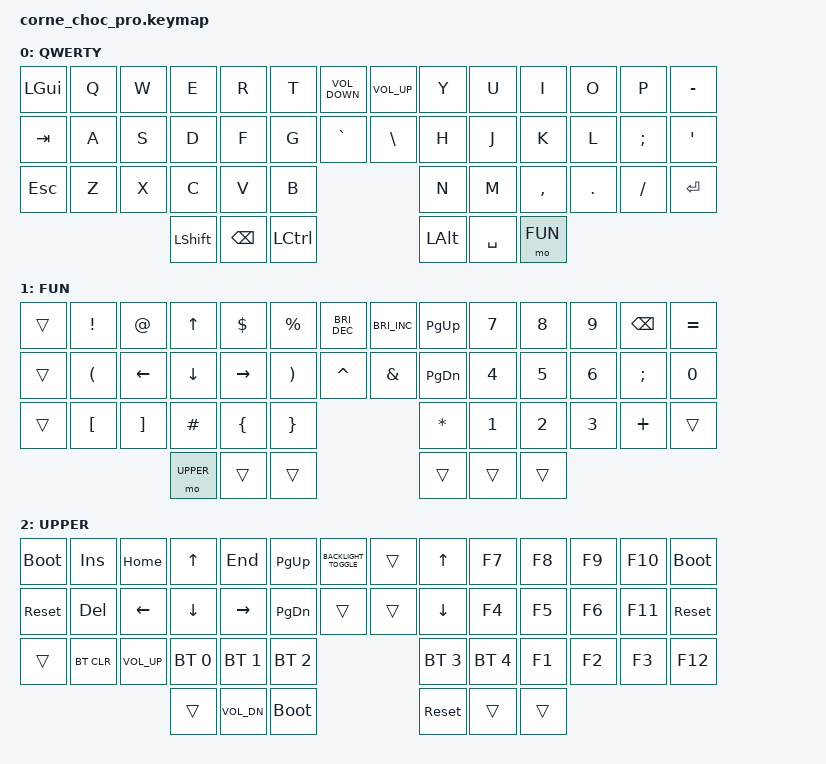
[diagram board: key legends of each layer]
/*
 * Atreus-default port for Keebart Corne Choc Pro (46-key)
 *
 * Layers:
 *   0 QWERTY  - Atreus default base layer
 *   1 FUN     - Atreus default FUN layer (held by right inner thumb)
 *   2 UPPER   - Atreus default UPPER layer (held from within FUN)
 *
 * Physical layout reminder (14 / 14 / 12 / 6):
 *   pos 1..6   = left alphas (outer pinky -> inner index)
 *   pos 7      = left inner-index column (rows 1,2 only)
 *   pos 8      = right inner-index column (rows 1,2 only)
 *   pos 9..14  = right alphas (inner index -> outer pinky)
 *   thumbs     = L_outer L_mid L_inner | R_inner R_mid R_outer
 *
 * Keys that don't fit on an Atreus thumb row get placed on Corne's
 * extra real estate:
 *   - Outer pinky col (pos 1 / pos 14) on rows 1-2: Esc/Tab (L), Quote/Enter (R)
 *   - Inner index col: LGui+Del (L), Minus+Equal (R)
 *   - Row 3 keeps the 6-key Atreus bottom row exactly (` on L-inner, \ on R-inner)
 */

#include <behaviors.dtsi>
#include <dt-bindings/zmk/bt.h>
#include <dt-bindings/zmk/keys.h>

#define BASE  0
#define FUN   1
#define UPPER 2

/ {
    chosen { zmk,physical-layout = &default_layout; };
};

/ {
    keymap {
        compatible = "zmk,keymap";

        default_layer {
            display-name = "QWERTY";

            // ---------------------------------------------------------------------------------------------
            // | ESC  |  Q  |  W  |  E  |  R  |  T  |  DEL  | EQUAL |  Y  |  U  |  I  |  O  |  P  | QUOTE |
            // | TAB  |  A  |  S  |  D  |  F  |  G  |  LGUI | MINUS |  H  |  J  |  K  |  L  |  ;  | ENTER |
            // | GRV  |  Z  |  X  |  C  |  V  |  B  |               |  \  |  N  |  M  |  ,  |  .  |  /    |
            //                        | LSHFT | BSPC | LCTRL  | LALT | SPACE | MO FUN |

            bindings = <
&kp LGUI    &kp Q  &kp W  &kp E      &kp R     &kp T      &kp C_VOLUME_DOWN  &kp C_VOLUME_UP       &kp Y     &kp U      &kp I      &kp O       &kp P      &kp MINUS
&kp TAB     &kp A  &kp S  &kp D      &kp F     &kp G      &kp GRAVE          &kp BSLH              &kp H     &kp J      &kp K      &kp L       &kp SEMI   &kp SQT
&kp ESCAPE  &kp Z  &kp X  &kp C      &kp V     &kp B                                               &kp N     &kp M      &kp COMMA  &kp PERIOD  &kp SLASH  &kp ENTER
                          &kp LSHFT  &kp BSPC  &kp LCTRL                                           &kp LALT  &kp SPACE  &mo FUN
            >;
        };

        fun_layer {
            display-name = "FUN";

            // Atreus FUN layer, ported. Corne-only positions (outer pinky cols on rows 1-2,
            // inner-index keys) fall through to base via &trans unless noted.
            // ---------------------------------------------------------------------------------------------
            // | trans| !  | @  | UP | $  | %  | trans | trans | PGUP | N7 | N8 | N9 | BSPC | trans |
            // | trans| (  |LEFT|DOWN|RGHT| )  | trans | trans | PGDN | N4 | N5 | N6 | PLUS | trans |
            // | trans| [  | ]  | #  | {  | }  |                 | ^   | &  | *  | N1 | N2 | N3    |
            //                       | mo UPPER | INS | DEL |   trans | trans | trans |

            bindings = <
&trans  &kp EXCL  &kp AT    &kp UP     &kp DLLR   &kp PRCNT  &kp C_BRIGHTNESS_DEC  &kp C_BRIGHTNESS_INC  &kp PG_UP     &kp N7        &kp N8        &kp N9        &kp BSPC       &kp EQUAL
&trans  &kp LPAR  &kp LEFT  &kp DOWN   &kp RIGHT  &kp RPAR   &kp CARET             &kp AMPERSAND         &kp PG_DN     &kp N4        &kp N5        &kp N6        &kp SEMICOLON  &kp NUMBER_0
&trans  &kp LBKT  &kp RBKT  &kp HASH   &kp LBRC   &kp RBRC                                               &kp ASTERISK  &kp NUMBER_1  &kp NUMBER_2  &kp NUMBER_3  &kp PLUS       &trans
                            &mo UPPER  &trans     &trans                                                 &trans        &trans        &trans
            >;
        };

        upper_layer {
            display-name = "UPPER";

            // Atreus UPPER: nav / media / F-keys. Empty Atreus slots host BT controls per request.
            // ---------------------------------------------------------------------------------------------
            // | trans| INS | HOME| UP  | END |PGUP| trans | trans |  UP  | F7 | F8 | F9 | F10 | trans |
            // | trans| DEL |LEFT |DOWN |RGHT |PGDN| trans | trans | DOWN | F4 | F5 | F6 | F11 | trans |
            // | trans|BTCLR|VOLUP|BT_0 |BT_1 |BT_2|               |BT_3  |BT_4| F1 | F2 | F3  | F12   |
            //                      | BOOT | VOLDN | trans |   trans | trans | SYSRST |

            bindings = <
&bootloader  &kp INS     &kp HOME      &kp UP        &kp END       &kp PG_UP     &kp C_BACKLIGHT_TOGGLE  &trans  &kp UP        &kp F7        &kp F8  &kp F9  &kp F10  &bootloader
&sys_reset   &kp DEL     &kp LEFT      &kp DOWN      &kp RIGHT     &kp PG_DN     &trans                  &trans  &kp DOWN      &kp F4        &kp F5  &kp F6  &kp F11  &sys_reset
&trans       &bt BT_CLR  &kp C_VOL_UP  &bt BT_SEL 0  &bt BT_SEL 1  &bt BT_SEL 2                                  &bt BT_SEL 3  &bt BT_SEL 4  &kp F1  &kp F2  &kp F3   &kp F12
                                       &trans        &kp C_VOL_DN  &bootloader                                   &sys_reset    &trans        &trans
            >;
        };
    };
};
